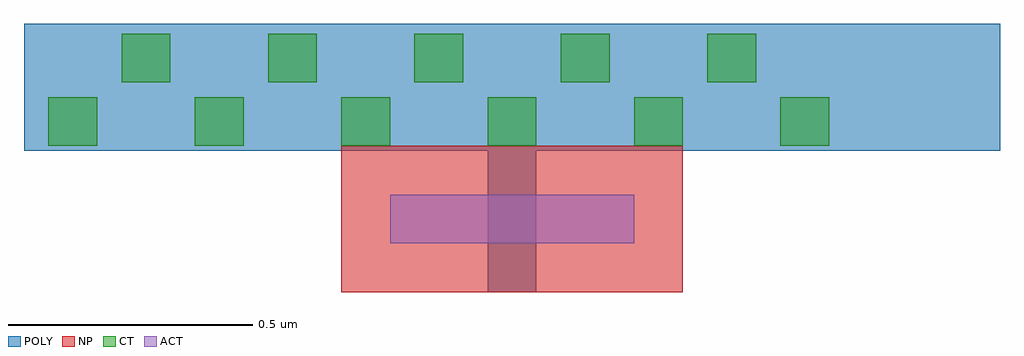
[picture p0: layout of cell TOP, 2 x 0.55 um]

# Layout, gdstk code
import gdstk
lib = gdstk.Library(unit=1e-6, precision=1e-09)
def R(c, l, rs):  # rectangles x0, y0, x1, y1
    for r in rs: c.add(gdstk.rectangle(r[:2], r[2:], *l))
def A(c, l, x, y, w, h, nx, ny, dx, dy):  # array of equal rectangles
    R(c, l, [(x+i*dx, y+j*dy, x+i*dx+w, y+j*dy+h) for i in range(nx) for j in range(ny)])
ACT = (2, 1)
POLY = (41, 1)
NP = (52, 1)
CT = (72, 1)

top = lib.new_cell('TOP')
R(top, ACT, [(0,0,0.5,0.1)])
R(top, POLY, [(0.2,-0.1,0.3,0.2), (-0.75,0.19,1.25,0.45)])
R(top, NP, [(-0.1,-0.1,0.6,0.2)])
A(top, CT, -0.7, 0.2, 0.1, 0.1, 6, 1, 0.3, 0)
A(top, CT, -0.55, 0.33, 0.1, 0.1, 5, 1, 0.3, 0)

lib.write_gds('TOP.gds')
